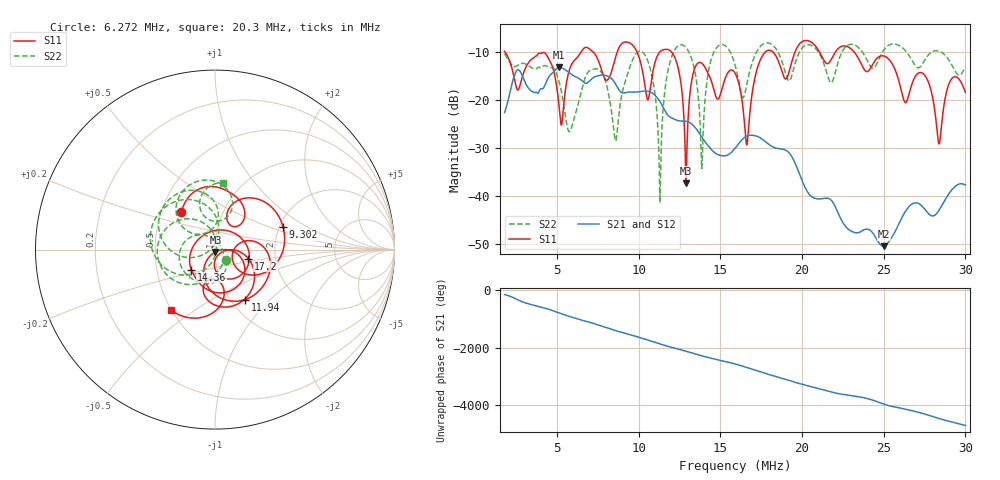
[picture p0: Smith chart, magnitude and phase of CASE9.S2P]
!Agilent Technologies,E5061B,MY49101568,A.02.00
!Date: Wed Mar 01 13:16:17 2023
!Data & Calibration Information:
!Freq	S11:SOLT2(OFF)	S21:SOLT2(OFF)	S12:SOLT2(OFF)	S22:SOLT2(OFF)
# Hz S dB R 50
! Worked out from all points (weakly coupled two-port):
!   1155 points, 1.8 MHz to 30 MHz, reference 50 ohm
!   highest |S21| = -13.24 dB at 5.123 MHz (marker M1); lowest = -50.5 dB at 24.99 MHz (marker M2)
!   lowest |S11| = -37.4 dB at 12.89 MHz (marker M3), VSWR 1.03, Z = 50.2 - j1.34 ohm
!   |S11| at or under -10 dB: 1.821 MHz to 6.481 MHz (4.66 MHz wide, 112 % of centre); 12.01 MHz to 17.76 MHz (5.749 MHz wide, 38.6 % of centre); 23.19 MHz to end of sweep (the widest 3 of 7)
!   |S22| runs from -41.4 to -8.1 dB; largest |S21 - S12| = 0.0024
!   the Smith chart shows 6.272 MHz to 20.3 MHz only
!   S11 on the Smith chart (normalised r, x): 6.272 MHz: 0.63, +0.28; 9.302 MHz: 2.09, +0.63; 11.94 MHz: 1.16, -0.72; 14.36 MHz: 0.75, -0.17; 17.2 MHz: 1.45, -0.15; 20.3 MHz: 0.50, -0.40
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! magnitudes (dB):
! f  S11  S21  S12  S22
! 1.8 MHz  -9.9  -22.6  -22.6  -10.4
! 5.123 MHz  -21.0  -13.2  -13.2  -16.1
! 6.272 MHz  -11.0  -15.4  -15.3  -21.2
! 6.516 MHz  -9.8  -16.0  -15.9  -17.9
! 7.714 MHz  -13.5  -14.8  -14.8  -14.2
! 8.593 MHz  -11.1  -16.7  -16.7  -28.5
! 9.302 MHz  -8.0  -18.4  -18.4  -14.8
! 10.5 MHz  -19.4  -18.1  -18.2  -11.3
! 11.21 MHz  -10.4  -19.8  -19.9  -28.0
! 11.94 MHz  -9.8  -23.6  -23.7  -11.9
! 12.89 MHz  -37.4  -24.4  -24.5  -9.1
! 13.87 MHz  -12.4  -27.7  -27.8  -34.3
! 14.36 MHz  -15.2  -30.0  -30.0  -12.6
! 15.9 MHz  -14.4  -30.1  -30.2  -12.7
! 16.61 MHz  -29.3  -27.5  -27.6  -17.0
! 17.2 MHz  -14.3  -27.5  -27.6  -10.1
! 20.3 MHz  -7.6  -38.9  -38.9  -8.5
! 20.62 MHz  -8.1  -40.2  -40.2  -8.7
! 24.99 MHz  -10.8  -50.5  -50.4  -9.7
! 25.31 MHz  -11.5  -49.6  -49.5  -8.6
! 28.39 MHz  -29.2  -43.0  -42.9  -9.8
! 30 MHz  -18.4  -37.7  -37.7  -13.1
